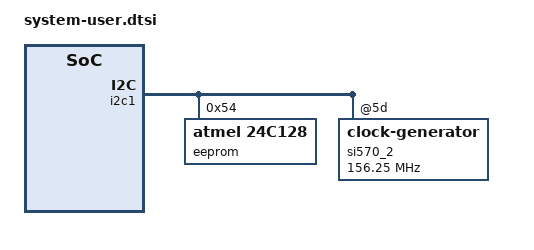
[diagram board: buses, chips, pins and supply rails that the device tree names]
/include/ "system-conf.dtsi"
/ {
	chosen {
		bootargs = " earlycon console=ttyPS0,115200 clk_ignore_unused root=/dev/ram0 rw net.ifnames=0 biosdevname=0";
		stdout-path = "serial0:115200n8";
		xlnx,eeprom = &eeprom;
	};
};
&i2c1 {
	i2c-mux@74 {
		i2c_eeprom: i2c@0 {
			eeprom: eeprom@54 {
				#address-cells = <1>;
				#size-cells = <1>;
				compatible = "atmel,24c128";
				reg = <0x54>;
				mac_address: mac-address@20 {
					reg = <0x20 6>;
				};
			};
		};
		i2c_si570_mgt: i2c@3 {
			si570_2: clock-generator@5d { /* USER MGT SI570 - u56 */
				clock-frequency = <156250000>;
			};
		};
	};
};
&gem3 {
	nvmem-cells = <&mac_address>;
	nvmem-cell-names = "mac-address";
};
/ {
	axi_stream_dma_0@b0000000 {
		compatible = "axi_stream_dma";
		reg = <0x0 0xb0000000 0x0 0x10000>;
		interrupts = <0 89 4>;
		interrupt-parent = <&gic>;
	};
};
